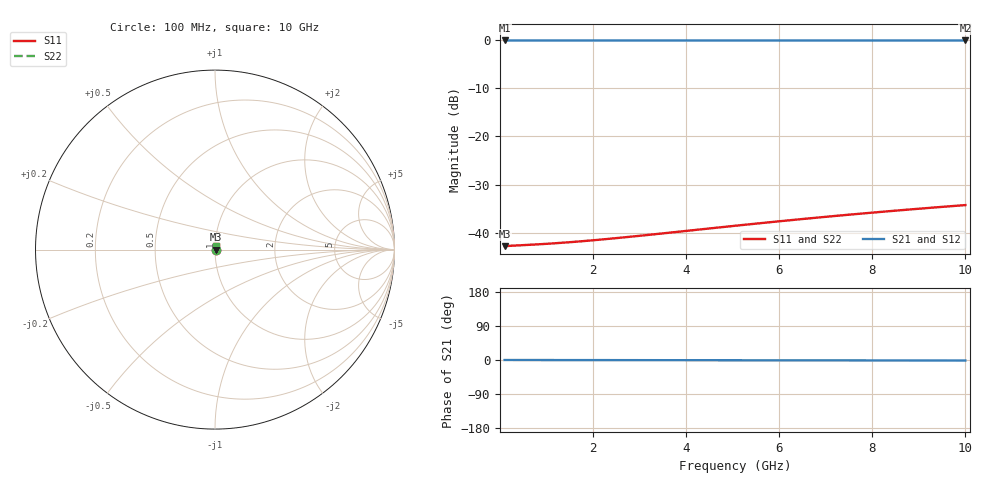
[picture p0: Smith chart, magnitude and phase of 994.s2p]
# Hz S RI R 50.00
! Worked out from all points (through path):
!   100 points, 100 MHz to 10 GHz, reference 50 ohm
!   highest |S21| = -0.06 dB at 100 MHz (marker M1); lowest = -0.1 dB at 10 GHz (marker M2)
!   lowest |S11| = -42.8 dB at 100 MHz (marker M3), VSWR 1.01, Z = 50.7 + j0.0178 ohm
!   |S11| at or under -10 dB: start of sweep to end of sweep
!   |S22| runs from -42.8 to -34.3 dB; largest |S21 - S12| = 0
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1e8  0.00724 0.000175  0.9928 -0.000237  0.9928 -0.000237  0.00724 0.000175
2e8  0.00728 0.000351  0.9927 -0.000475  0.9927 -0.000475  0.00728 0.000351
8e8  0.00742 0.0014  0.9926 -0.0019  0.9926 -0.0019  0.00742 0.0014
1.1e9  0.00747 0.00193  0.9925 -0.00261  0.9925 -0.00261  0.00747 0.00193
1.4e9  0.0075 0.00245  0.9925 -0.00332  0.9925 -0.00332  0.0075 0.00245
1.6e9  0.00752 0.0028  0.9925 -0.0038  0.9925 -0.0038  0.00752 0.0028
1.8e9  0.00754 0.00315  0.9925 -0.00427  0.9925 -0.00427  0.00754 0.00315
2.1e9  0.00757 0.00368  0.9924 -0.00498  0.9924 -0.00498  0.00757 0.00368
2.5e9  0.00761 0.00438  0.9924 -0.00593  0.9924 -0.00593  0.00761 0.00438
2.9e9  0.00764 0.00508  0.9924 -0.00688  0.9924 -0.00688  0.00764 0.00508
3.4e9  0.00767 0.00595  0.9923 -0.00806  0.9923 -0.00806  0.00767 0.00595
5.1e9  0.0078 0.00893  0.9922 -0.0121  0.9922 -0.0121  0.0078 0.00893
5.9e9  0.00786 0.0103  0.9921 -0.014  0.9921 -0.014  0.00786 0.0103
6.3e9  0.00789 0.011  0.9921 -0.0149  0.9921 -0.0149  0.00789 0.011
6.7e9  0.00792 0.0117  0.9921 -0.0159  0.9921 -0.0159  0.00792 0.0117
7.1e9  0.00795 0.0124  0.992 -0.0168  0.992 -0.0168  0.00795 0.0124
7.5e9  0.00798 0.0131  0.992 -0.0178  0.992 -0.0178  0.00798 0.0131
7.9e9  0.00802 0.0138  0.992 -0.0187  0.992 -0.0187  0.00802 0.0138
8.4e9  0.00806 0.0147  0.9919 -0.0199  0.9919 -0.0199  0.00806 0.0147
8.8e9  0.0081 0.0154  0.9919 -0.0209  0.9919 -0.0209  0.0081 0.0154
9.2e9  0.00814 0.0161  0.9918 -0.0218  0.9918 -0.0218  0.00814 0.0161
1e10  0.00821 0.0175  0.9918 -0.0237  0.9918 -0.0237  0.00821 0.0175
